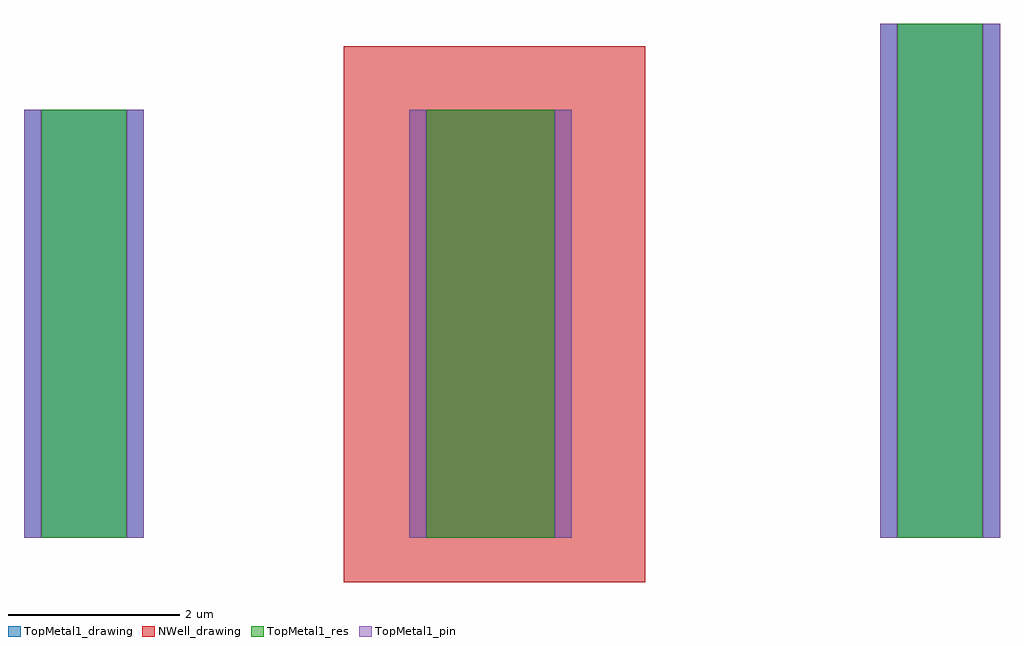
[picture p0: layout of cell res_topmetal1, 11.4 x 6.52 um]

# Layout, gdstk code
import gdstk
lib = gdstk.Library(unit=1e-6, precision=1e-09)
def R(c, l, rs):  # rectangles x0, y0, x1, y1
    for r in rs: c.add(gdstk.rectangle(r[:2], r[2:], *l))
NWell_drawing = (31, 0)
TopMetal1_drawing = (126, 0)
TopMetal1_pin = (126, 2)
TopMetal1_res = (126, 29)

res_topmetal1 = lib.new_cell('res_topmetal1')
R(res_topmetal1, NWell_drawing, [(3.032,-0.519,6.556,5.737)])
R(res_topmetal1, TopMetal1_drawing, [(-0.7,0,0.7,5), (-0.5,0,0.5,5), (3.8,0,5.2,5), (4.7,0,5.7,5), (9.3,0,10.7,6), (9.5,0,10.5,6)])
R(res_topmetal1, TopMetal1_pin, [(-0.7,0,-0.5,5), (0.5,0,0.7,5), (3.8,0,4,5), (5.5,0,5.7,5), (9.3,0,9.5,6), (10.5,0,10.7,6)])
R(res_topmetal1, TopMetal1_res, [(-0.5,0,0.5,5), (4,0,5.5,5), (9.5,0,10.5,6)])

lib.write_gds('res_topmetal1.gds')
